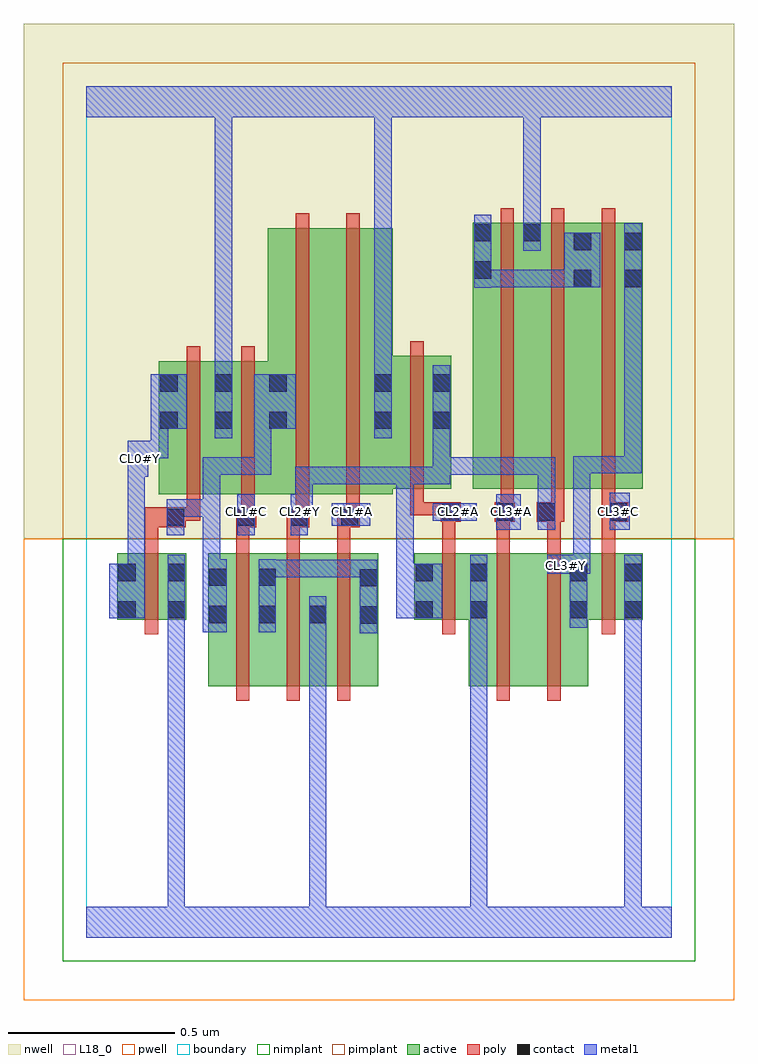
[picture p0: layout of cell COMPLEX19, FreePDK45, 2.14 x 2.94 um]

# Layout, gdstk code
import gdstk
lib = gdstk.Library(unit=1e-6, precision=1e-09)
def R(c, l, rs):  # rectangles x0, y0, x1, y1
    for r in rs: c.add(gdstk.rectangle(r[:2], r[2:], *l))
def A(c, l, x, y, w, h, nx, ny, dx, dy):  # array of equal rectangles
    R(c, l, [(x+i*dx, y+j*dy, x+i*dx+w, y+j*dy+h) for i in range(nx) for j in range(ny)])
active = (1, 0)
pwell = (2, 0)
nwell = (3, 0)
nimplant = (4, 0)
pimplant = (5, 0)
poly = (9, 0)
contact = (10, 0)
metal1 = (11, 0)
L18_0 = (18, 0)
boundary = (235, 0)

complex19 = lib.new_cell('COMPLEX19')
A(complex19, active, 0.514, 0.756, 0.06, 0.4, 3, 1, 0.152, 0)
R(complex19, active, [(0.366,0.756,0.426,1.156), (0.366,0.756,0.574,1.156), (0.514,0.756,0.726,1.156), (0.666,0.756,0.878,1.156), (1.15,0.756,1.21,1.156), (1.15,0.756,1.33,1.156), (1.33,0.756,1.51,1.156), (1.45,0.756,1.51,1.156), (0.092,0.956,0.152,1.156), (0.092,0.956,0.3,1.156), (0.24,0.956,0.3,1.156), (0.986,0.956,1.046,1.156), (0.986,0.956,1.21,1.156), (1.45,0.956,1.674,1.156), (1.614,0.956,1.674,1.156), (0.218,1.334,0.278,1.734), (0.218,1.334,0.442,1.734), (0.382,1.334,0.606,1.734), (0.382,1.334,0.442,1.698), (0.546,1.334,0.726,2.134), (0.546,1.334,0.606,1.794), (0.726,1.334,0.922,2.134), (0.862,1.35,0.922,1.698), (0.862,1.35,1.098,1.75), (1.038,1.35,1.098,1.698), (1.162,1.35,1.222,2.15), (1.162,1.35,1.37,2.15), (1.31,1.35,1.522,2.15), (1.31,1.35,1.37,2.15), (1.462,1.35,1.674,2.15), (1.614,1.35,1.674,2.124), (1.462,1.686,1.522,2.124)])
R(complex19, pwell, [(-0.188,-0.188,1.948,1.2)])
R(complex19, nwell, [(-0.188,1.2,1.948,2.748)])
R(complex19, nimplant, [(-0.072,-0.072,1.832,1.2)])
R(complex19, pimplant, [(-0.072,1.2,1.832,2.632)])
A(complex19, poly, 0.45, 0.712, 0.04, 0.488, 3, 1, 0.152, 0)
A(complex19, poly, 0.45, 1.16, 0.04, 0.114, 3, 1, 0.152, 0)
A(complex19, poly, 0.302, 1.254, 0.04, 0.076, 3, 1, 0.164, 0)
A(complex19, poly, 1.246, 1.27, 0.04, 0.076, 3, 1, 0.152, 0)
A(complex19, poly, 1.246, 1.306, 0.04, 0.888, 3, 1, 0.152, 0)
R(complex19, poly, [(1.234,0.712,1.274,1.2), (1.386,0.712,1.426,1.2), (0.176,0.912,0.216,1.2), (1.07,0.912,1.11,1.2), (1.55,0.912,1.59,1.2), (0.176,1.16,0.216,1.274), (1.07,1.16,1.11,1.29), (1.234,1.16,1.274,1.29), (1.386,1.16,1.426,1.29), (1.55,1.16,1.59,1.29), (0.176,1.234,0.298,1.294), (0.45,1.234,0.51,1.294), (0.602,1.234,0.65,1.274), (0.61,1.234,0.65,1.274), (0.61,1.234,0.67,1.294), (0.754,1.234,0.822,1.294), (1.066,1.25,1.126,1.31), (1.228,1.25,1.288,1.31), (1.354,1.25,1.438,1.31), (1.386,1.25,1.426,1.29), (1.386,1.25,1.426,1.29), (1.55,1.25,1.63,1.31), (0.258,1.254,0.298,1.294), (0.258,1.254,0.342,1.294), (0.466,1.254,0.506,1.294), (0.466,1.254,0.506,1.294), (0.782,1.254,0.822,1.33), (0.782,1.254,0.822,1.294), (0.782,1.254,0.822,1.294), (0.974,1.27,1.014,1.346), (0.974,1.27,1.106,1.31), (1.066,1.27,1.106,1.31), (1.246,1.27,1.286,1.31), (1.246,1.27,1.286,1.31), (1.55,1.27,1.59,1.31), (1.55,1.27,1.59,1.31), (0.302,1.29,0.342,1.778), (0.466,1.29,0.506,1.778), (0.63,1.29,0.67,2.178), (0.782,1.29,0.822,2.178), (0.974,1.306,1.014,1.794)])
A(complex19, contact, 0.222, 1.53, 0.052, 0.052, 3, 2, 0.164, 0.112)
R(complex19, contact, [(0.822,0.944,0.874,0.996), (0.37,0.946,0.422,0.998), (0.518,0.946,0.57,0.998), (0.67,0.946,0.722,0.998), (0.096,0.96,0.148,1.012), (0.244,0.96,0.296,1.012), (0.99,0.96,1.042,1.012), (1.154,0.96,1.206,1.012), (1.454,0.96,1.506,1.012), (1.618,0.96,1.67,1.012), (0.822,1.056,0.874,1.108), (0.37,1.058,0.422,1.11), (0.518,1.058,0.57,1.11), (0.096,1.072,0.148,1.124), (0.244,1.072,0.296,1.124), (0.99,1.072,1.042,1.124), (1.154,1.072,1.206,1.124), (1.454,1.072,1.506,1.124), (1.618,1.072,1.67,1.124), (0.242,1.238,0.294,1.29), (0.454,1.238,0.506,1.29), (0.614,1.238,0.666,1.29), (0.766,1.238,0.818,1.29), (1.07,1.254,1.122,1.306), (1.232,1.254,1.284,1.306), (1.358,1.254,1.41,1.306), (1.574,1.254,1.626,1.306), (0.866,1.53,0.918,1.582), (1.042,1.53,1.094,1.582), (0.866,1.642,0.918,1.694), (1.042,1.642,1.094,1.694), (1.466,1.956,1.518,2.008), (1.618,1.956,1.67,2.008), (1.166,1.982,1.218,2.034), (1.466,2.068,1.518,2.12), (1.618,2.068,1.67,2.12), (1.166,2.094,1.218,2.146), (1.314,2.094,1.366,2.146)])
R(complex19, metal1, [(0,0,1.76,0.092), (0.244,0.04,0.296,0.092), (0.244,0.04,0.296,0.092), (0.244,0.04,0.296,0.092), (0.244,0.04,0.296,0.092), (0.244,0.04,0.296,0.092), (0.244,0.04,0.296,0.092), (0.244,0.04,0.296,0.092), (0.244,0.04,0.296,0.092), (0.244,0.04,0.296,0.092), (0.244,0.04,0.296,0.092), (0.244,0.04,0.296,0.092), (0.244,0.04,0.296,0.092), (0.244,0.04,0.296,0.092), (0.244,0.04,0.296,0.092), (0.244,0.04,0.296,0.092), (0.244,0.04,0.296,0.092), (0.244,0.04,0.296,0.984), (0.67,0.04,0.722,0.092), (0.67,0.04,0.722,0.092), (0.67,0.04,0.722,0.092), (0.67,0.04,0.722,0.092), (0.67,0.04,0.722,0.092), (0.67,0.04,0.722,0.092), (0.67,0.04,0.722,0.092), (0.67,0.04,0.722,0.092), (0.67,0.04,0.722,0.092), (0.67,0.04,0.722,0.092), (0.67,0.04,0.722,0.97), (1.154,0.04,1.206,0.984), (1.618,0.04,1.67,0.092), (1.618,0.04,1.67,0.092), (1.618,0.04,1.67,0.092), (1.618,0.04,1.67,0.092), (1.618,0.04,1.67,0.092), (1.618,0.04,1.67,0.092), (1.618,0.04,1.67,0.984), (0.822,0.916,0.874,1.136), (0.35,0.918,0.422,1.138), (0.518,0.918,0.57,1.138), (0.67,0.918,0.722,0.97), (0.67,0.918,0.722,0.97), (0.67,0.918,0.722,1.026), (0.244,0.932,0.296,1.152), (1.154,0.932,1.206,1.152), (1.154,0.932,1.206,0.984), (1.154,0.932,1.206,0.984), (1.154,0.932,1.206,0.984), (1.154,0.932,1.206,0.984), (1.154,0.932,1.206,0.984), (1.154,0.932,1.206,0.984), (1.154,0.932,1.206,0.984), (1.154,0.932,1.206,0.984), (1.154,0.932,1.206,0.984), (1.154,0.932,1.206,0.984), (1.154,0.932,1.206,0.984), (1.154,0.932,1.206,0.984), (1.454,0.932,1.506,1.152), (1.618,0.932,1.67,1.152), (1.618,0.932,1.67,0.984), (1.618,0.932,1.67,0.984), (1.618,0.932,1.67,0.984), (1.618,0.932,1.67,0.984), (1.618,0.932,1.67,0.984), (1.618,0.932,1.67,0.984), (1.618,0.932,1.67,0.984), (1.618,0.932,1.67,0.984), (1.618,0.932,1.67,0.984), (1.618,0.932,1.67,0.984), (0.068,0.96,0.176,1.124), (0.932,0.96,1.07,1.124), (0.124,1.072,0.176,1.438), (0.932,1.072,0.984,1.124), (0.932,1.072,0.984,1.124), (0.932,1.072,0.984,1.416), (0.518,1.084,0.57,1.136), (0.518,1.084,0.57,1.136), (0.518,1.084,0.764,1.136), (0.712,1.084,0.764,1.136), (0.712,1.084,0.874,1.136), (0.822,1.084,0.874,1.136), (0.822,1.084,0.874,1.136), (0.35,1.086,0.402,1.318), (1.386,1.094,1.516,1.152), (1.454,1.094,1.506,1.146), (1.464,1.1,1.516,1.448), (0.242,1.21,0.294,1.318), (0.454,1.21,0.506,1.334), (0.614,1.21,0.666,1.334), (1.232,1.226,1.306,1.334), (1.358,1.226,1.41,1.444), (1.574,1.226,1.634,1.338), (0.738,1.238,0.854,1.306), (1.042,1.254,1.174,1.306), (0.242,1.266,0.35,1.318), (0.298,1.266,0.35,1.318), (0.298,1.266,0.402,1.318), (0.35,1.266,0.402,1.318), (0.35,1.266,0.402,1.444), (0.614,1.282,0.68,1.334), (0.628,1.282,0.68,1.416), (0.628,1.364,0.874,1.416), (0.822,1.364,0.874,1.416), (0.822,1.364,0.874,1.416), (0.822,1.364,0.874,1.416), (0.822,1.364,0.984,1.416), (0.932,1.364,0.984,1.416), (0.932,1.364,0.984,1.416), (0.932,1.364,0.984,1.416), (0.932,1.364,1.094,1.416), (1.042,1.364,1.094,1.444), (0.124,1.386,0.186,1.494), (0.35,1.392,0.402,1.444), (0.35,1.392,0.46,1.444), (0.408,1.392,0.46,1.444), (0.408,1.392,0.556,1.444), (0.504,1.392,0.556,1.444), (0.504,1.392,0.556,1.582), (1.042,1.392,1.094,1.444), (1.042,1.392,1.094,1.444), (1.042,1.392,1.204,1.444), (1.042,1.392,1.094,1.554), (1.152,1.392,1.204,1.444), (1.152,1.392,1.328,1.444), (1.276,1.392,1.328,1.444), (1.276,1.392,1.41,1.444), (1.464,1.396,1.52,1.448), (1.468,1.396,1.67,1.448), (1.468,1.396,1.52,1.448), (1.468,1.396,1.52,1.448), (1.618,1.396,1.67,1.98), (1.618,1.396,1.67,1.448), (0.134,1.442,0.186,1.494), (0.134,1.442,0.246,1.494), (0.194,1.442,0.246,1.582), (0.386,1.502,0.438,1.722), (0.866,1.502,0.918,1.722), (1.042,1.502,1.094,1.722), (0.194,1.53,0.302,1.694), (0.504,1.53,0.63,1.694), (0.386,1.67,0.438,1.722), (0.386,1.67,0.438,1.722), (0.386,1.67,0.438,2.52), (0.866,1.67,0.918,2.52), (1.618,1.928,1.67,2.148), (1.166,1.954,1.218,2.174), (1.166,1.956,1.218,2.008), (1.166,1.956,1.218,2.008), (1.166,1.956,1.328,2.008), (1.276,1.956,1.328,2.008), (1.276,1.956,1.328,2.008), (1.276,1.956,1.328,2.008), (1.276,1.956,1.49,2.008), (1.438,1.956,1.546,2.12), (1.314,2.066,1.366,2.174), (1.314,2.122,1.366,2.174), (1.314,2.122,1.366,2.174), (1.314,2.122,1.366,2.174), (1.314,2.122,1.366,2.174), (1.314,2.122,1.366,2.174), (1.314,2.122,1.366,2.174), (1.314,2.122,1.366,2.52), (0,2.468,1.76,2.56), (0.386,2.468,0.438,2.52), (0.386,2.468,0.438,2.52), (0.386,2.468,0.438,2.52), (0.386,2.468,0.438,2.52), (0.386,2.468,0.438,2.52), (0.386,2.468,0.438,2.52), (0.386,2.468,0.438,2.52), (0.386,2.468,0.438,2.52), (0.386,2.468,0.438,2.52), (0.386,2.468,0.438,2.52), (0.386,2.468,0.438,2.52), (0.386,2.468,0.438,2.52), (0.386,2.468,0.438,2.52), (0.386,2.468,0.438,2.52), (0.866,2.468,0.918,2.52), (0.866,2.468,0.918,2.52), (0.866,2.468,0.918,2.52), (0.866,2.468,0.918,2.52), (0.866,2.468,0.918,2.52), (0.866,2.468,0.918,2.52), (0.866,2.468,0.918,2.52), (0.866,2.468,0.918,2.52), (1.314,2.468,1.366,2.52), (1.314,2.468,1.366,2.52)])
A(complex19, L18_0, 0.454, 1.254, 0.052, 0.052, 3, 1, 0.16, 0)
R(complex19, L18_0, [(0,0,1.76,0.092), (0.244,0.04,0.296,0.092), (0.244,0.04,0.296,0.092), (0.244,0.04,0.296,0.092), (0.244,0.04,0.296,0.092), (0.244,0.04,0.296,0.092), (0.244,0.04,0.296,0.092), (0.244,0.04,0.296,0.092), (0.244,0.04,0.296,0.092), (0.244,0.04,0.296,0.092), (0.244,0.04,0.296,0.092), (0.244,0.04,0.296,0.092), (0.244,0.04,0.296,0.092), (0.244,0.04,0.296,0.092), (0.244,0.04,0.296,0.092), (0.244,0.04,0.296,0.092), (0.244,0.04,0.296,0.092), (0.244,0.04,0.296,0.984), (0.67,0.04,0.722,0.092), (0.67,0.04,0.722,0.092), (0.67,0.04,0.722,0.092), (0.67,0.04,0.722,0.092), (0.67,0.04,0.722,0.092), (0.67,0.04,0.722,0.092), (0.67,0.04,0.722,0.092), (0.67,0.04,0.722,0.092), (0.67,0.04,0.722,0.092), (0.67,0.04,0.722,0.092), (0.67,0.04,0.722,0.97), (1.154,0.04,1.206,0.984), (1.618,0.04,1.67,0.092), (1.618,0.04,1.67,0.092), (1.618,0.04,1.67,0.092), (1.618,0.04,1.67,0.092), (1.618,0.04,1.67,0.092), (1.618,0.04,1.67,0.092), (1.618,0.04,1.67,0.984), (0.67,0.918,0.722,0.97), (0.67,0.918,0.722,0.97), (0.67,0.918,0.722,1.026), (0.244,0.932,0.296,1.152), (1.154,0.932,1.206,0.984), (1.154,0.932,1.206,0.984), (1.154,0.932,1.206,0.984), (1.154,0.932,1.206,0.984), (1.154,0.932,1.206,0.984), (1.154,0.932,1.206,0.984), (1.154,0.932,1.206,0.984), (1.154,0.932,1.206,0.984), (1.154,0.932,1.206,0.984), (1.154,0.932,1.206,0.984), (1.154,0.932,1.206,0.984), (1.154,0.932,1.206,0.984), (1.154,0.932,1.206,1.152), (1.454,0.932,1.506,1.152), (1.618,0.932,1.67,0.984), (1.618,0.932,1.67,0.984), (1.618,0.932,1.67,0.984), (1.618,0.932,1.67,0.984), (1.618,0.932,1.67,0.984), (1.618,0.932,1.67,0.984), (1.618,0.932,1.67,0.984), (1.618,0.932,1.67,0.984), (1.618,0.932,1.67,0.984), (1.618,0.932,1.67,0.984), (1.618,0.932,1.67,1.152), (0.068,0.96,0.176,1.124), (0.932,0.96,1.07,1.124), (0.124,1.072,0.176,1.438), (0.932,1.072,0.984,1.124), (0.932,1.072,0.984,1.124), (0.932,1.072,0.984,1.416), (1.386,1.094,1.516,1.152), (1.414,1.094,1.466,1.146), (1.454,1.094,1.506,1.146), (1.464,1.1,1.516,1.448), (0.454,1.21,0.506,1.334), (0.614,1.21,0.666,1.334), (1.232,1.226,1.306,1.334), (1.358,1.226,1.41,1.444), (1.574,1.226,1.634,1.338), (0.738,1.238,0.854,1.306), (1.042,1.254,1.174,1.306), (1.094,1.254,1.146,1.306), (1.254,1.254,1.306,1.306), (1.574,1.254,1.626,1.306), (0.614,1.282,0.68,1.334), (0.628,1.282,0.68,1.416), (0.628,1.364,0.874,1.416), (0.822,1.364,0.874,1.416), (0.822,1.364,0.874,1.416), (0.822,1.364,0.874,1.416), (0.822,1.364,0.984,1.416), (0.932,1.364,0.984,1.416), (0.932,1.364,0.984,1.416), (0.932,1.364,0.984,1.416), (0.932,1.364,1.094,1.416), (1.042,1.364,1.094,1.444), (0.124,1.386,0.186,1.494), (1.042,1.392,1.094,1.444), (1.042,1.392,1.094,1.444), (1.042,1.392,1.204,1.444), (1.042,1.392,1.094,1.554), (1.152,1.392,1.204,1.444), (1.152,1.392,1.328,1.444), (1.276,1.392,1.328,1.444), (1.276,1.392,1.41,1.444), (1.464,1.396,1.52,1.448), (1.468,1.396,1.52,1.448), (1.468,1.396,1.52,1.448), (1.468,1.396,1.67,1.448), (1.618,1.396,1.67,1.448), (1.618,1.396,1.67,1.98), (0.134,1.414,0.186,1.466), (0.134,1.442,0.246,1.494), (0.134,1.442,0.186,1.494), (0.194,1.442,0.246,1.582), (0.386,1.502,0.438,1.722), (0.866,1.502,0.918,1.722), (1.042,1.502,1.094,1.722), (0.194,1.53,0.302,1.694), (0.386,1.67,0.438,1.722), (0.386,1.67,0.438,1.722), (0.386,1.67,0.438,2.52), (0.866,1.67,0.918,2.52), (1.618,1.928,1.67,2.148), (1.314,2.066,1.366,2.174), (1.314,2.122,1.366,2.174), (1.314,2.122,1.366,2.174), (1.314,2.122,1.366,2.174), (1.314,2.122,1.366,2.174), (1.314,2.122,1.366,2.174), (1.314,2.122,1.366,2.174), (1.314,2.122,1.366,2.52), (0,2.468,1.76,2.56), (0.386,2.468,0.438,2.52), (0.386,2.468,0.438,2.52), (0.386,2.468,0.438,2.52), (0.386,2.468,0.438,2.52), (0.386,2.468,0.438,2.52), (0.386,2.468,0.438,2.52), (0.386,2.468,0.438,2.52), (0.386,2.468,0.438,2.52), (0.386,2.468,0.438,2.52), (0.386,2.468,0.438,2.52), (0.386,2.468,0.438,2.52), (0.386,2.468,0.438,2.52), (0.386,2.468,0.438,2.52), (0.386,2.468,0.438,2.52), (0.866,2.468,0.918,2.52), (0.866,2.468,0.918,2.52), (0.866,2.468,0.918,2.52), (0.866,2.468,0.918,2.52), (0.866,2.468,0.918,2.52), (0.866,2.468,0.918,2.52), (0.866,2.468,0.918,2.52), (0.866,2.468,0.918,2.52), (1.314,2.468,1.366,2.52), (1.314,2.468,1.366,2.52)])
R(complex19, boundary, [(0,0,1.76,2.56)])
complex19.add(gdstk.Label('CL0#Y', (0.16,1.44), layer=11, texttype=0))
complex19.add(gdstk.Label('CL1#A', (0.8,1.28), layer=11, texttype=0))
complex19.add(gdstk.Label('CL1#C', (0.48,1.28), layer=11, texttype=0))
complex19.add(gdstk.Label('CL2#A', (1.12,1.28), layer=11, texttype=0))
complex19.add(gdstk.Label('CL2#Y', (0.64,1.28), layer=11, texttype=0))
complex19.add(gdstk.Label('CL3#A', (1.28,1.28), layer=11, texttype=0))
complex19.add(gdstk.Label('CL3#C', (1.6,1.28), layer=11, texttype=0))
complex19.add(gdstk.Label('CL3#Y', (1.44,1.12), layer=11, texttype=0))

lib.write_gds('COMPLEX19.gds')
